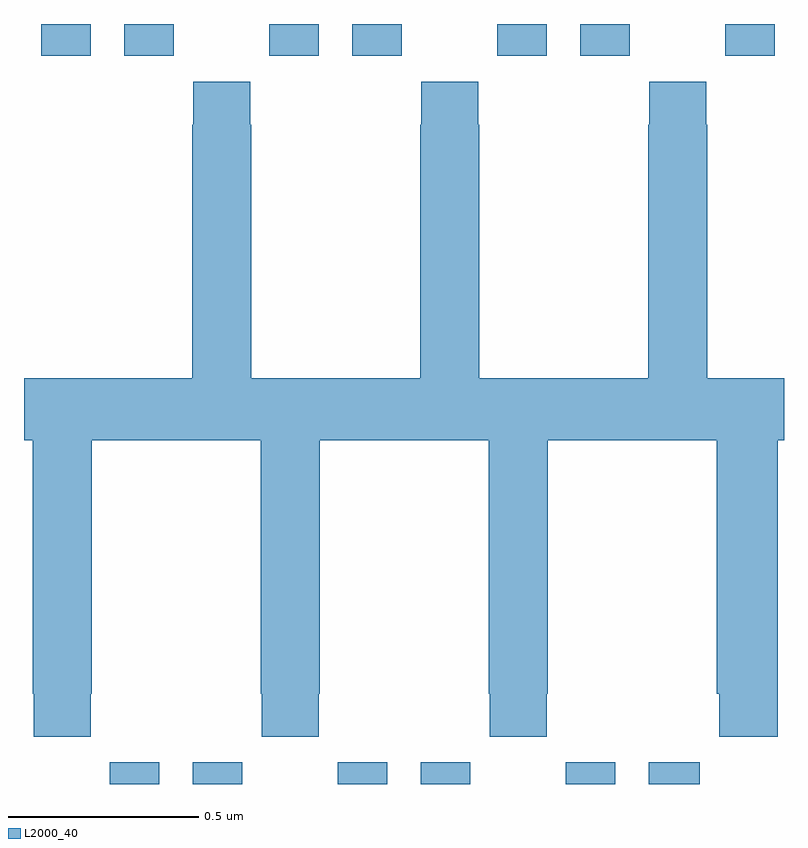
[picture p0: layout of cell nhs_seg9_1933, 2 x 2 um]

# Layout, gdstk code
import gdstk
lib = gdstk.Library(unit=1e-6, precision=1e-09)
def R(c, l, rs):  # rectangles x0, y0, x1, y1
    for r in rs: c.add(gdstk.rectangle(r[:2], r[2:], *l))
def P(c, l, *ps):  # polygons
    for p in ps: c.add(gdstk.Polygon(p, *l))
L2000_40 = (2000, 40)

nhs_seg9_1933 = lib.new_cell('nhs_seg9_1933')
R(nhs_seg9_1933, L2000_40, [(134.226,1211.5,134.356,1211.557), (134.444,1211.5,134.574,1211.557), (134.826,1211.5,134.956,1211.557), (135.044,1211.5,135.174,1211.557), (135.426,1211.5,135.556,1211.557), (135.644,1211.5,135.778,1211.557), (134.046,1213.416,134.176,1213.5), (134.264,1213.416,134.394,1213.5), (134.646,1213.416,134.776,1213.5), (134.864,1213.416,134.994,1213.5), (135.246,1213.416,135.376,1213.5), (135.464,1213.416,135.594,1213.5), (135.846,1213.416,135.976,1213.5)])
P(nhs_seg9_1933, L2000_40, [(135.223,1211.737),(135.225,1211.737),(135.225,1211.625),(135.375,1211.625),(135.375,1211.737),(135.378,1211.737),(135.378,1212.404),(135.823,1212.404),(135.823,1211.737),(135.829,1211.737),(135.829,1211.625),(135.983,1211.625),(135.983,1212.404),(136,1212.404),(136,1212.568),(135.798,1212.568),(135.798,1213.235),(135.795,1213.235),(135.795,1213.348),(135.645,1213.348),(135.645,1213.235),(135.643,1213.235),(135.643,1212.568),(135.198,1212.568),(135.198,1213.235),(135.195,1213.235),(135.195,1213.348),(135.045,1213.348),(135.045,1213.235),(135.043,1213.235),(135.043,1212.568),(134.598,1212.568),(134.598,1213.235),(134.595,1213.235),(134.595,1213.348),(134.445,1213.348),(134.445,1213.235),(134.443,1213.235),(134.443,1212.568),(134,1212.568),(134,1212.404),(134.023,1212.404),(134.023,1211.737),(134.025,1211.737),(134.025,1211.625),(134.175,1211.625),(134.175,1211.737),(134.178,1211.737),(134.178,1212.404),(134.623,1212.404),(134.623,1211.737),(134.625,1211.737),(134.625,1211.625),(134.775,1211.625),(134.775,1211.737),(134.778,1211.737),(134.778,1212.404),(135.223,1212.404)])

lib.write_gds('nhs_seg9_1933.gds')
